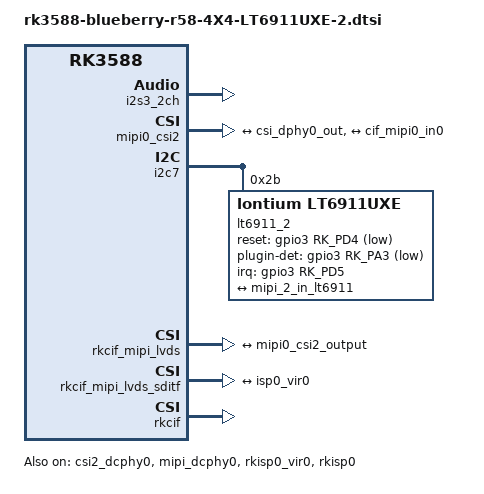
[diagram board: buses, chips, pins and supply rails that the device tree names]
// SPDX-License-Identifier: (GPL-2.0+ OR MIT)
/*
 * Copyright (c) 2021 Rockchip Electronics Co., Ltd.
 *
 */

#include "dt-bindings/usb/pd.h"

/* lt6911 02 hdmi in */
/ {
	lt6911_2_dc: lt6911-2-dc {
		compatible = "rockchip,dummy-codec";
		status = "okay";
		#sound-dai-cells = <0>;
	};

	lt6911_02-sound {
		compatible = "simple-audio-card";
		simple-audio-card,format = "i2s";
		simple-audio-card,name = "rockchip,lt6911-02";
		simple-audio-card,bitclock-master = <&dailink2_master>;
		simple-audio-card,frame-master = <&dailink2_master>;
		status = "okay";
		simple-audio-card,cpu {
			sound-dai = <&i2s3_2ch>;
		};
		dailink2_master: simple-audio-card,codec {
			sound-dai = <&lt6911_2_dc>;
		};
	};
};

&i2s3_2ch {
	status = "okay";
	pinctrl-0 = <&i2s3_sdi>;
	rockchip,clk-trcm = <1>;
};

&mipi0_csi2 {
	status = "okay";

	ports {
		#address-cells = <1>;
		#size-cells = <0>;

		port@0 {
			reg = <0>;
			#address-cells = <1>;
			#size-cells = <0>;

			mipi0_csi2_input: endpoint@1 {
				reg = <1>;
				remote-endpoint = <&csi_dphy0_out>;
			};
		};

		port@1 {
			reg = <1>;
			#address-cells = <1>;
			#size-cells = <0>;

			mipi0_csi2_output: endpoint@0 {
				reg = <0>;
				remote-endpoint = <&cif_mipi0_in0>;
			};
		};
	};
};

&csi2_dcphy0 {
	status = "okay";

	ports {
		#address-cells = <1>;
		#size-cells = <0>;
		port@0 {
			reg = <0>;
			#address-cells = <1>;
			#size-cells = <0>;

			mipi_2_in_lt6911: endpoint@1 {
				reg = <1>;
				remote-endpoint = <&lt6911_2_out>;
				data-lanes = <1 2 3 4>;
			};
		};
		port@1 {
			reg = <1>;
			#address-cells = <1>;
			#size-cells = <0>;

			csi_dphy0_out: endpoint@0 {
				reg = <0>;
				remote-endpoint = <&mipi0_csi2_input>;
			};
		};
	};
};

&mipi_dcphy0 {
	status = "okay";
};

&i2c7 {
	pinctrl-names = "default";
	pinctrl-0 = <&i2c7m2_xfer>;
	status = "okay";

	lt6911_2:lt6911_2@2b {
		compatible = "lontium,lt6911uxe";
		status = "okay";
		reg = <0x2b>;
		clocks = <&ext_cam_clk>;
		clock-names = "xvclk";
		power-domains = <&power RK3588_PD_VI>;
		pinctrl-names = "default";
		pinctrl-0 = <&lt6911uxc_2_pin>;
		interrupt-parent = <&gpio3>;
		interrupts = <RK_PD5 IRQ_TYPE_LEVEL_LOW>;
		//power-gpios = <&gpio3 RK_PB2 GPIO_ACTIVE_HIGH>;
		reset-gpios = <&gpio3 RK_PD4 GPIO_ACTIVE_LOW>;
		plugin-det-gpios = <&gpio3 RK_PA3 GPIO_ACTIVE_LOW>;
		rockchip,camera-module-index = <1>;
		rockchip,camera-module-facing = "back";
		rockchip,camera-module-name = "HDMI-MIPI2";
		rockchip,camera-module-lens-name = "LT6911UXE1";
		port {
			lt6911_2_out: endpoint {
				remote-endpoint = <&mipi_2_in_lt6911>;
				data-lanes = <1 2 3 4>;
			};
		};
	};
};


&rkcif_mipi_lvds {
	status = "okay";

	port {
		cif_mipi0_in0: endpoint {
			remote-endpoint = <&mipi0_csi2_output>;
		};
	};
};

&rkcif_mipi_lvds_sditf {
	status = "okay";

	port {
		mipi_lvds_sditf: endpoint {
			remote-endpoint = <&isp0_vir0>;
		};
	};
};

&rkisp0_vir0 {
	status = "okay";

	port {
		#address-cells = <1>;
		#size-cells = <0>;

		isp0_vir0: endpoint@0 {
			reg = <0>;
			remote-endpoint = <&mipi_lvds_sditf>;
		};
	};
};
/* lt6911 02 hdmi in end*/


&rkcif {
	status = "okay";
};

&rkcif_mmu {
	status = "okay";
};

&rkisp0 {
	status = "okay";
};

&isp0_mmu {
	status = "okay";
};


&pinctrl {
	hdmiin {
		lt6911uxc_2_pin: lt6911uxc-2-pin {
			rockchip,pins = <3 RK_PA3 RK_FUNC_GPIO &pcfg_pull_none>,// HDMIRX_DET_LT6911
					<3 RK_PD5 RK_FUNC_GPIO &pcfg_pull_none>,        // LT6911UXC_INT
					<3 RK_PD4 RK_FUNC_GPIO &pcfg_pull_none>;        // LT6911_RST
			};
		};
};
